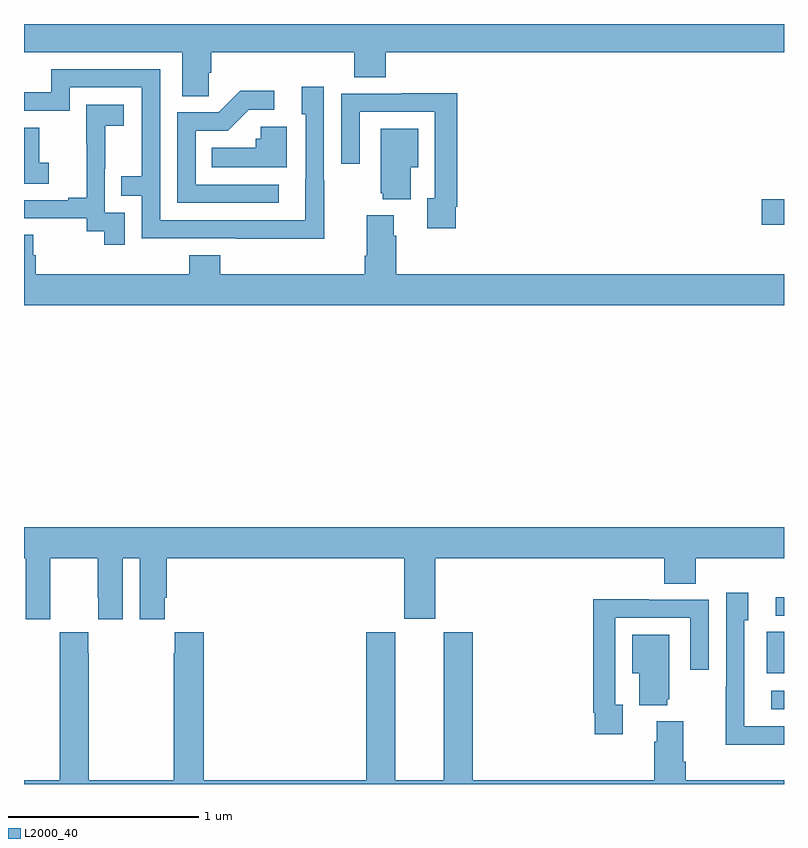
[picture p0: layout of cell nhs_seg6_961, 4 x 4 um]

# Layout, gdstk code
import gdstk
lib = gdstk.Library(unit=1e-6, precision=1e-09)
def R(c, l, rs):  # rectangles x0, y0, x1, y1
    for r in rs: c.add(gdstk.rectangle(r[:2], r[2:], *l))
def P(c, l, *ps):  # polygons
    for p in ps: c.add(gdstk.Polygon(p, *l))
L2000_40 = (2000, 40)

nhs_seg6_961 = lib.new_cell('nhs_seg6_961')
R(nhs_seg6_961, L2000_40, [(174.933,927.894,175,927.99), (174.908,928.082,175,928.301), (174.957,928.386,175,928.484), (174.882,930.443,175,930.578)])
P(nhs_seg6_961, L2000_40, [(171.972,931.243),(171.986,931.243),(171.986,931.352),(172.739,931.352),(172.739,931.219),(172.904,931.219),(172.904,931.352),(175,931.352),(175,931.5),(171,931.5),(171,931.352),(171.833,931.352),(171.833,931.12),(171.972,931.12)],
  [(172.581,930.677),(172.578,930.677),(172.578,931.171),(172.463,931.171),(172.463,931.026),(172.482,931.026),(172.482,930.683),(172.481,930.683),(172.481,930.468),(171.717,930.468),(171.717,931.263),(171.143,931.263),(171.143,931.14),(171,931.14),(171,931.044),(171.24,931.044),(171.24,931.167),(171.621,931.167),(171.621,930.698),(171.511,930.698),(171.511,930.597),(171.621,930.597),(171.621,930.372),(172.117,930.372),(172.117,930.371),(172.581,930.371)],
  [(172.342,930.654),(171.903,930.654),(171.903,930.939),(172.072,930.939),(172.183,931.05),(172.318,931.05),(172.318,931.148),(172.139,931.148),(172.026,931.035),(171.807,931.035),(171.807,930.558),(172.342,930.558)],
  [(173.272,930.538),(173.279,930.538),(173.279,931.136),(172.987,931.136),(172.987,931.134),(172.671,931.134),(172.671,930.765),(172.767,930.765),(172.767,931.038),(173.163,931.038),(173.163,930.582),(173.123,930.582),(173.123,930.426),(173.272,930.426)],
  [(171.531,930.507),(171.426,930.507),(171.426,930.737),(171.428,930.737),(171.428,930.965),(171.526,930.965),(171.526,931.075),(171.328,931.075),(171.328,930.869),(171.329,930.869),(171.329,930.586),(171.233,930.586),(171.233,930.573),(171,930.573),(171,930.477),(171.33,930.477),(171.33,930.409),(171.423,930.409),(171.423,930.339),(171.531,930.339)],
  [(172.384,930.958),(172.245,930.958),(172.245,930.897),(172.219,930.897),(172.219,930.85),(171.988,930.85),(171.988,930.746),(172.384,930.746)],
  [(171.13,930.769),(171.081,930.769),(171.081,930.954),(171,930.954),(171,930.66),(171.13,930.66)],
  [(173.035,930.746),(173.074,930.746),(173.074,930.949),(172.877,930.949),(172.877,930.609),(172.889,930.609),(172.889,930.578),(173.035,930.578)],
  [(175,930.184),(172.958,930.184),(172.958,930.386),(172.945,930.386),(172.945,930.493),(172.805,930.493),(172.805,930.28),(172.793,930.28),(172.793,930.184),(172.034,930.184),(172.034,930.283),(171.869,930.283),(171.869,930.184),(171.062,930.184),(171.062,930.282),(171.049,930.282),(171.049,930.392),(171,930.392),(171,930.02),(175,930.02)],
  [(171,928.688),(171.008,928.688),(171.008,928.368),(171.138,928.368),(171.138,928.48),(171.139,928.48),(171.139,928.688),(171.389,928.688),(171.389,928.48),(171.39,928.48),(171.39,928.368),(171.52,928.368),(171.52,928.688),(171.608,928.688),(171.608,928.368),(171.742,928.368),(171.742,928.48),(171.752,928.48),(171.752,928.688),(173,928.688),(173,928.371),(173.164,928.371),(173.164,928.688),(174.371,928.688),(174.371,928.555),(174.536,928.555),(174.536,928.688),(175,928.688),(175,928.852),(171,928.852)],
  [(175,927.804),(174.792,927.804),(174.792,928.362),(174.811,928.362),(174.811,928.507),(174.696,928.507),(174.696,928.013),(174.694,928.013),(174.694,927.707),(175,927.707)],
  [(174.151,927.918),(174.111,927.918),(174.111,928.374),(174.507,928.374),(174.507,928.101),(174.603,928.101),(174.603,928.47),(174.287,928.47),(174.287,928.472),(173.995,928.472),(173.995,927.874),(174.003,927.874),(174.003,927.762),(174.151,927.762)],
  [(175,927.52),(174.482,927.52),(174.482,927.616),(174.469,927.616),(174.469,927.829),(174.329,927.829),(174.329,927.722),(174.317,927.722),(174.317,927.52),(173.363,927.52),(173.363,928.299),(173.21,928.299),(173.21,927.52),(172.954,927.52),(172.954,928.299),(172.802,928.299),(172.802,927.52),(171.947,927.52),(171.947,928.3),(171.793,928.3),(171.793,928.187),(171.787,928.187),(171.787,927.52),(171.342,927.52),(171.342,928.187),(171.339,928.187),(171.339,928.3),(171.189,928.3),(171.189,928.187),(171.187,928.187),(171.187,927.52),(171,927.52),(171,927.5),(175,927.5)],
  [(174.386,927.945),(174.397,927.945),(174.397,928.285),(174.2,928.285),(174.2,928.082),(174.239,928.082),(174.239,927.914),(174.386,927.914)])

lib.write_gds('nhs_seg6_961.gds')
